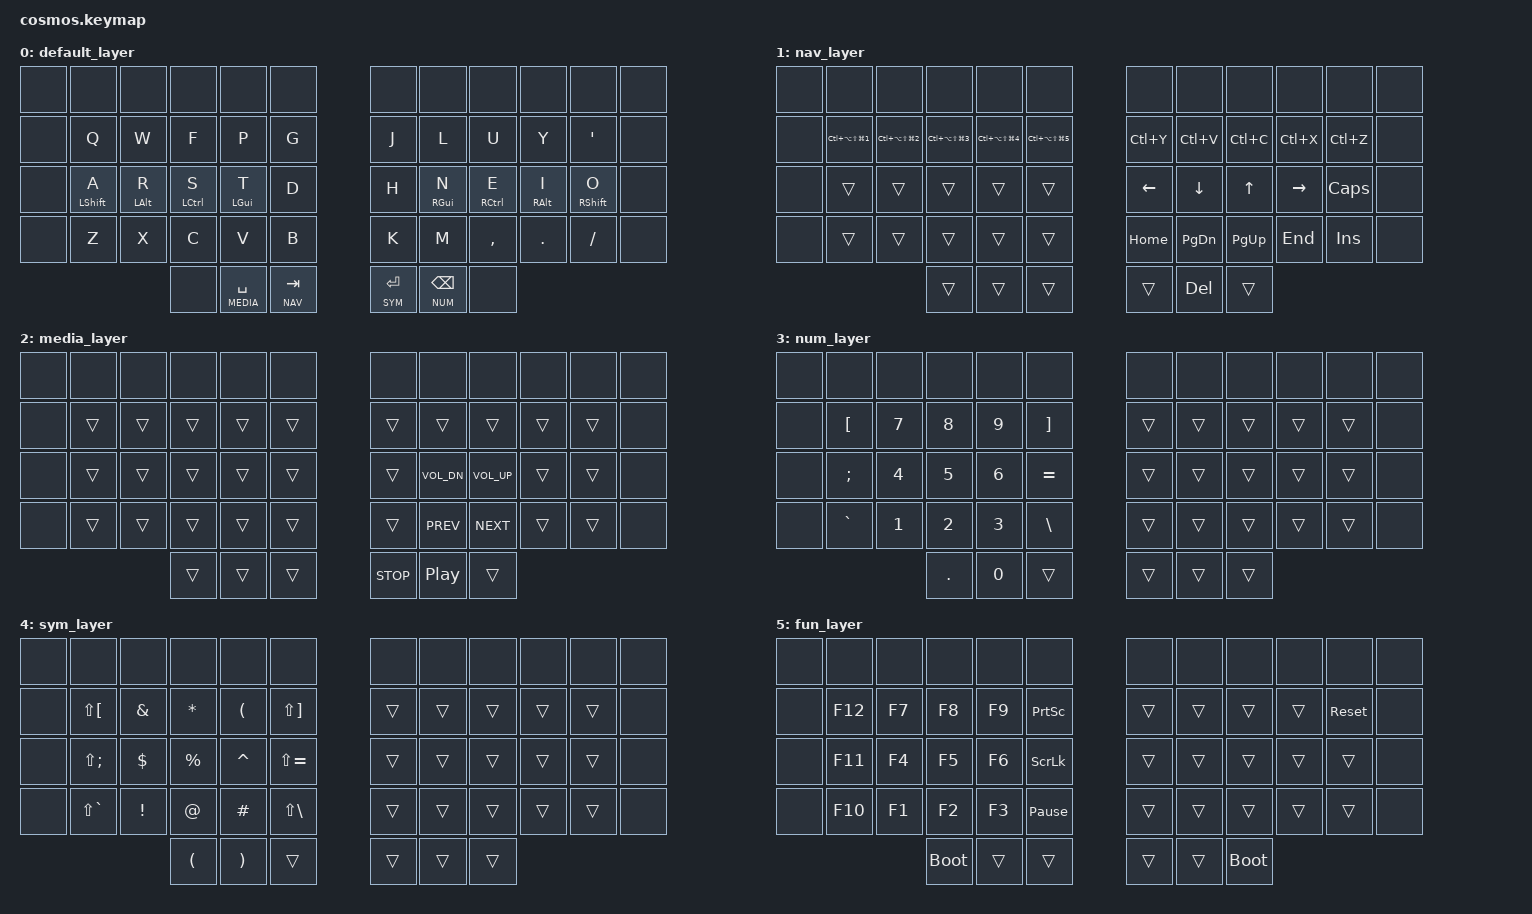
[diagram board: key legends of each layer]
// Copyright (c) 2022 The ZMK Contributors
// SPDX-License-Identifier: MIT

#include <behaviors.dtsi>
#include <dt-bindings/zmk/keys.h>
#include <dt-bindings/zmk/bt.h>

#define BASE 0
#define NAV 1
#define MEDIA 2
#define NUM 3
#define SYM 4
#define FUN 5

/ {
    combos {
        compatible = "zmk,combos";
        combo_esc_left {
            timeout-ms = <50>;
            key-positions = <13 14>;
            bindings = <&kp ESC>;
        };
    };
    
    behaviors {
        ht: hold_tap {
            compatible = "zmk,behavior-hold-tap";
            label = "HOLD_TAP";
            #binding-cells = <2>;
            flavor = "tap-preferred";
            tapping-term-ms = <220>;
            quick-tap-ms = <150>;
            require-prior-idle-ms = <100>;
            bindings = <&kp>, <&kp>;
        };
    };

    conditional_layers {
        compatible = "zmk,conditional-layers";
        tri_layer {
            if-layers = <NAV SYM>;
            then-layer = <FUN>;
        };
    };

    keymap {
        compatible = "zmk,keymap";

        default_layer {
            bindings = <
            &none &none &none &none &none &none                         &none &none &none &none &none &none
            &none &kp Q &kp W &kp F &kp P &kp G                         &kp J &kp L &kp U &kp Y &kp SQT &none 
            &none &ht LSHFT A &ht LALT R &ht LCTRL S &ht LGUI T &kp D   &kp H &ht RGUI N &ht RCTRL E &ht RALT I &ht RSHFT O &none
            &none &kp Z &kp X &kp C &kp V &kp B                         &kp K &kp M &kp COMMA &kp DOT &kp FSLH &none
                  &none &lt MEDIA SPACE &lt NAV TAB                     &lt SYM RET &lt NUM BSPC &none
            >;
        };

        nav_layer {
            bindings = <
            &none &none &none &none &none &none                                         &none &none &none &none &none &none
            &none &kp LC(LA(LS(LG(N1)))) &kp LC(LA(LS(LG(N2)))) &kp LC(LA(LS(LG(N3)))) &kp LC(LA(LS(LG(N4)))) &kp LC(LA(LS(LG(N5))))   &kp LC(Y) &kp LC(V) &kp LC(C) &kp LC(X) &kp LC(Z) &none
            &none &trans &trans &trans &trans &trans                                    &kp LEFT &kp DOWN &kp UP &kp RIGHT &kp CAPS &none
            &none &trans &trans &trans &trans &trans                                    &kp HOME &kp PG_DN &kp PG_UP &kp END &kp INS &none
                  &trans &trans &trans                                                  &trans &kp DEL &trans
            >;
        };

        media_layer {
            bindings = <
            &none &none &none &none &none &none             &none &none &none &none &none &none
            &none &trans &trans &trans &trans &trans        &trans &trans &trans &trans &trans &none
            &none &trans &trans &trans &trans &trans        &trans &kp C_VOL_DN &kp C_VOL_UP &trans &trans &none
            &none &trans &trans &trans &trans &trans        &trans &kp C_PREV &kp C_NEXT &trans &trans &none
                  &trans &trans &trans                      &kp C_STOP &kp C_PP &trans
            >;
        };

        num_layer {
            bindings = <
            &none &none &none &none &none &none             &none &none &none &none &none &none
            &none &kp LBKT &kp N7 &kp N8 &kp N9 &kp RBKT    &trans &trans &trans &trans &trans &none
            &none &kp SEMI &kp N4 &kp N5 &kp N6 &kp EQUAL   &trans &trans &trans &trans &trans &none
            &none &kp GRAVE &kp N1 &kp N2 &kp N3 &kp BSLH   &trans &trans &trans &trans &trans &none
                  &kp DOT &kp N0 &trans                     &trans &trans &trans
            >;
        };

        sym_layer {
            bindings = <
            &none &none &none &none &none &none                 &none &none &none &none &none &none
            &none &kp LS(LBKT) &kp AMPS &kp STAR &kp LPAR &kp LS(RBKT)   &trans &trans &trans &trans &trans &none
            &none &kp LS(SEMI) &kp DLLR &kp PRCNT &kp CARET &kp LS(EQUAL)  &trans &trans &trans &trans &trans &none
            &none &kp LS(GRAVE) &kp EXCL &kp AT &kp HASH &kp LS(BSLH)   &trans &trans &trans &trans &trans &none
                  &kp LPAR &kp RPAR &trans                      &trans &trans &trans
            >;
        };

        fun_layer {
            bindings = <
            &none &none &none &none &none &none             &none &none &none &none &none &none
            &none &kp F12 &kp F7 &kp F8 &kp F9 &kp PSCRN    &trans &trans &trans &trans &sys_reset &none
            &none &kp F11 &kp F4 &kp F5 &kp F6 &kp SLCK     &trans &trans &trans &trans &trans &none
            &none &kp F10 &kp F1 &kp F2 &kp F3 &kp PAUSE_BREAK  &trans &trans &trans &trans &trans &none
                  &bootloader &trans &trans                 &trans &trans &bootloader
            >;
        };
    };
};
